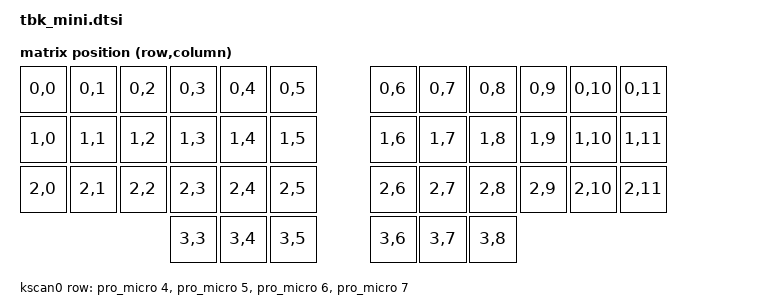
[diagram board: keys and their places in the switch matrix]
/*
 * TBK Mini shared devicetree include
 *
 * Layout: 3×6 + 3 thumb keys per side = 42 keys total
 *
 *   Left half:  6 cols × 3 rows  +  3 thumb keys  (row 3, cols 3-5)
 *   Right half: 6 cols × 3 rows  +  3 thumb keys  (row 3, cols 6-8)
 *
 * Matrix wiring (col2row, diodes from column to row):
 *   Rows  R0..R3  (4 rows: 3 main + 1 thumb row)
 *   Cols  C0..C5  (6 columns per side)
 *
 * Pro Micro pin mapping (adjust to your actual wiring):
 *   Rows:  pin 4 (R0), pin 5 (R1), pin 6 (R2), pin 7 (R3)
 *   Cols:  pin 8 (C0), pin 9 (C1), pin 10 (C2), pin 11 (C3), pin 14 (C4), pin 15 (C5)
 */

#include <dt-bindings/zmk/matrix_transform.h>

/ {
    /*
     * Combined matrix transform (left cols 0-5, right cols 6-11).
     *
     * Physical layout:
     *
     *  L00 L01 L02 L03 L04 L05 | R00 R01 R02 R03 R04 R05
     *  L10 L11 L12 L13 L14 L15 | R10 R11 R12 R13 R14 R15
     *  L20 L21 L22 L23 L24 L25 | R20 R21 R22 R23 R24 R25
     *              L31 L32 L33 | R31 R32 R33
     */
    default_transform: keymap_transform_0 {
        compatible = "zmk,matrix-transform";
        columns = <12>;
        rows = <4>;
        map = <
        // ╭──────────────────────────────────────────╮ ╭──────────────────────────────────────────╮
            RC(0,0) RC(0,1) RC(0,2) RC(0,3) RC(0,4) RC(0,5)   RC(0,6) RC(0,7) RC(0,8) RC(0,9) RC(0,10) RC(0,11)
            RC(1,0) RC(1,1) RC(1,2) RC(1,3) RC(1,4) RC(1,5)   RC(1,6) RC(1,7) RC(1,8) RC(1,9) RC(1,10) RC(1,11)
            RC(2,0) RC(2,1) RC(2,2) RC(2,3) RC(2,4) RC(2,5)   RC(2,6) RC(2,7) RC(2,8) RC(2,9) RC(2,10) RC(2,11)
                                    RC(3,3) RC(3,4) RC(3,5)   RC(3,6) RC(3,7) RC(3,8)
        // ╰──────────────────────────────────────────╯ ╰──────────────────────────────────────────╯
        >;
    };

    kscan0: kscan_0 {
        compatible = "zmk,kscan-gpio-matrix";
        diode-direction = "col2row";
        wakeup-source;

        row-gpios
            = <&pro_micro 4  (GPIO_ACTIVE_HIGH | GPIO_PULL_DOWN)>  /* R0 */
            , <&pro_micro 5  (GPIO_ACTIVE_HIGH | GPIO_PULL_DOWN)>  /* R1 */
            , <&pro_micro 6  (GPIO_ACTIVE_HIGH | GPIO_PULL_DOWN)>  /* R2 */
            , <&pro_micro 7  (GPIO_ACTIVE_HIGH | GPIO_PULL_DOWN)>  /* R3 – thumb row */
            ;
        /* col-gpios are defined per-side in the left/right overlay files */
    };

    physical_layout_0: physical_layout_0 {
        compatible = "zmk,physical-layout";
        display-name = "Default";
        kscan = <&kscan0>;
        transform = <&default_transform>;
    };

    chosen {
        zmk,kscan = &kscan0;
        zmk,physical-layout = &physical_layout_0;
    };
};
